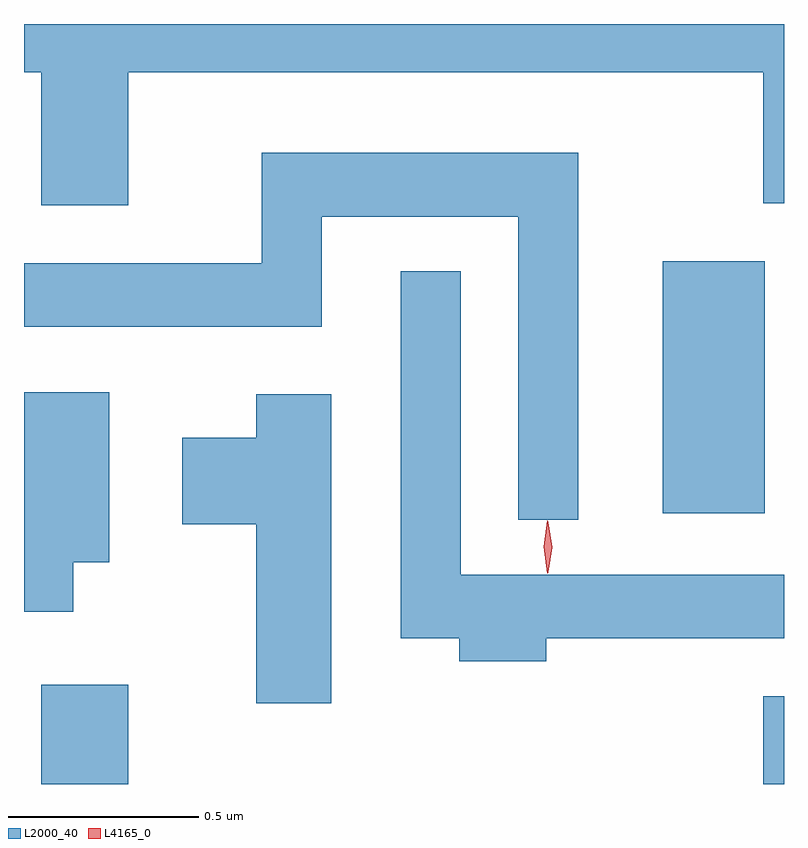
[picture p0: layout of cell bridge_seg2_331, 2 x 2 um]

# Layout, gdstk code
import gdstk
lib = gdstk.Library(unit=1e-6, precision=1e-09)
def R(c, l, rs):  # rectangles x0, y0, x1, y1
    for r in rs: c.add(gdstk.rectangle(r[:2], r[2:], *l))
def P(c, l, *ps):  # polygons
    for p in ps: c.add(gdstk.Polygon(p, *l))
L2000_40 = (2000, 40)
L4165_0 = (4165, 0)

bridge_seg2_331 = lib.new_cell('bridge_seg2_331')
R(bridge_seg2_331, L2000_40, [(410.461,1068.643,410.689,1068.904), (412.361,1068.643,412.415,1068.874), (412.096,1069.356,412.364,1070.019)])
P(bridge_seg2_331, L2000_40, [(410.689,1070.516),(412.361,1070.516),(412.361,1070.171),(412.415,1070.171),(412.415,1070.643),(410.415,1070.643),(410.415,1070.516),(410.461,1070.516),(410.461,1070.166),(410.689,1070.166)],
  [(411.874,1070.304),(411.041,1070.304),(411.041,1070.014),(410.415,1070.014),(410.415,1069.846),(411.199,1069.846),(411.199,1070.136),(411.716,1070.136),(411.716,1069.338),(411.874,1069.338)],
  [(411.789,1069.026),(412.415,1069.026),(412.415,1069.194),(411.564,1069.194),(411.564,1069.993),(411.406,1069.993),(411.406,1069.026),(411.561,1069.026),(411.561,1068.966),(411.789,1068.966)],
  [(410.544,1069.226),(410.639,1069.226),(410.639,1069.674),(410.415,1069.674),(410.415,1069.096),(410.544,1069.096)],
  [(411.224,1069.669),(411.026,1069.669),(411.026,1069.554),(410.831,1069.554),(410.831,1069.326),(411.026,1069.326),(411.026,1068.856),(411.224,1068.856)])
P(bridge_seg2_331, L4165_0, [(411.792,1069.197),(411.783,1069.267),(411.792,1069.336),(411.793,1069.336),(411.793,1069.336),(411.803,1069.267),(411.793,1069.197),(411.793,1069.197)],
  [(411.795,1069.199),(411.794,1069.2),(411.785,1069.266),(411.794,1069.332),(411.795,1069.333),(411.795,1069.332),(411.805,1069.266),(411.795,1069.2)])

lib.write_gds('bridge_seg2_331.gds')
